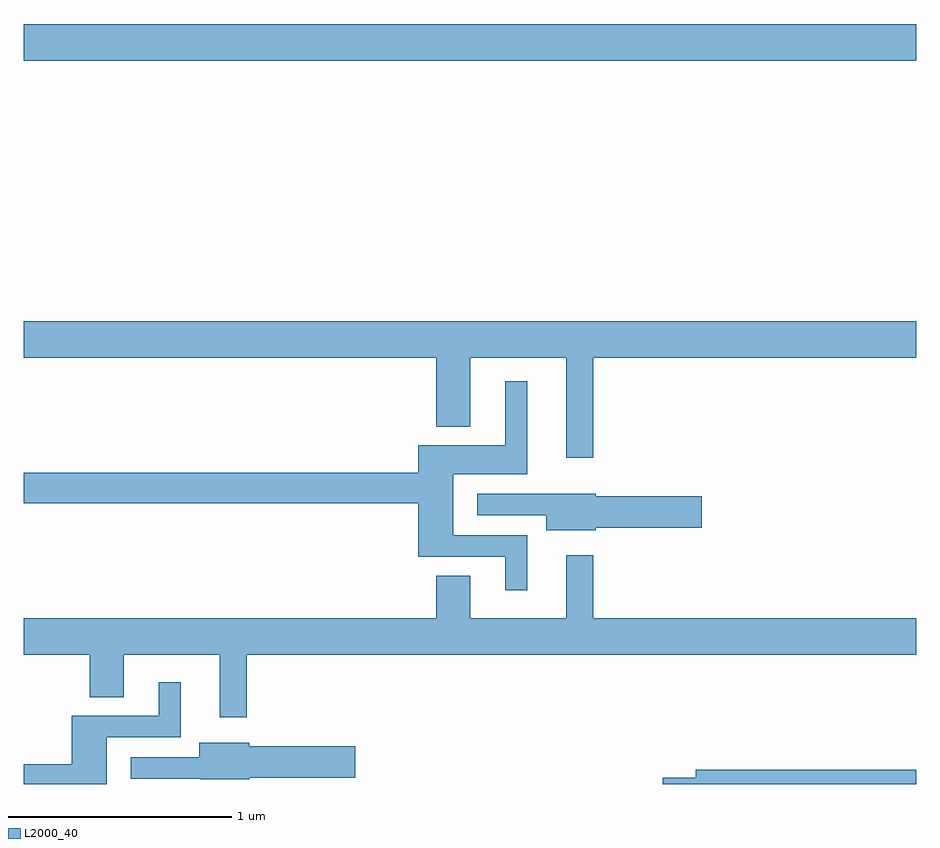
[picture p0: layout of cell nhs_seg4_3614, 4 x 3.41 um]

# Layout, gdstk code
import gdstk
lib = gdstk.Library(unit=1e-6, precision=1e-09)
def R(c, l, rs):  # rectangles x0, y0, x1, y1
    for r in rs: c.add(gdstk.rectangle(r[:2], r[2:], *l))
def P(c, l, *ps):  # polygons
    for p in ps: c.add(gdstk.Polygon(p, *l))
L2000_40 = (2000, 40)

nhs_seg4_3614 = lib.new_cell('nhs_seg4_3614')
R(nhs_seg4_3614, L2000_40, [(301,806.144,305,806.308)])
P(nhs_seg4_3614, L2000_40, [(303.553,804.812),(305,804.812),(305,804.976),(301,804.976),(301,804.812),(302.849,804.812),(302.849,804.503),(303.001,804.503),(303.001,804.812),(303.431,804.812),(303.431,804.363),(303.553,804.363)],
  [(303.256,804.015),(302.926,804.015),(302.926,804.29),(303.256,804.29),(303.256,804.706),(303.158,804.706),(303.158,804.418),(302.768,804.418),(302.768,804.296),(301,804.296),(301,804.16),(302.768,804.16),(302.768,803.919),(303.158,803.919),(303.158,803.769),(303.256,803.769)],
  [(303.564,804.049),(304.039,804.049),(304.039,804.191),(303.564,804.191),(303.564,804.202),(303.345,804.202),(303.345,804.201),(303.033,804.201),(303.033,804.105),(303.341,804.105),(303.341,804.038),(303.564,804.038)],
  [(301.999,803.48),(305,803.48),(305,803.644),(303.553,803.644),(303.553,803.926),(303.431,803.926),(303.431,803.644),(303.001,803.644),(303.001,803.834),(302.849,803.834),(302.849,803.644),(301,803.644),(301,803.48),(301.295,803.48),(301.295,803.29),(301.447,803.29),(301.447,803.48),(301.877,803.48),(301.877,803.199),(301.999,803.199)],
  [(301.372,803.109),(301.702,803.109),(301.702,803.356),(301.604,803.356),(301.604,803.205),(301.214,803.205),(301.214,802.988),(301,802.988),(301,802.9),(301.372,802.9)],
  [(302.01,802.928),(302.485,802.928),(302.485,803.07),(302.01,803.07),(302.01,803.086),(301.787,803.086),(301.787,803.019),(301.479,803.019),(301.479,802.923),(301.791,802.923),(301.791,802.922),(302.01,802.922)],
  [(305,802.964),(304.013,802.964),(304.013,802.928),(303.864,802.928),(303.864,802.9),(305,802.9)])

lib.write_gds('nhs_seg4_3614.gds')
